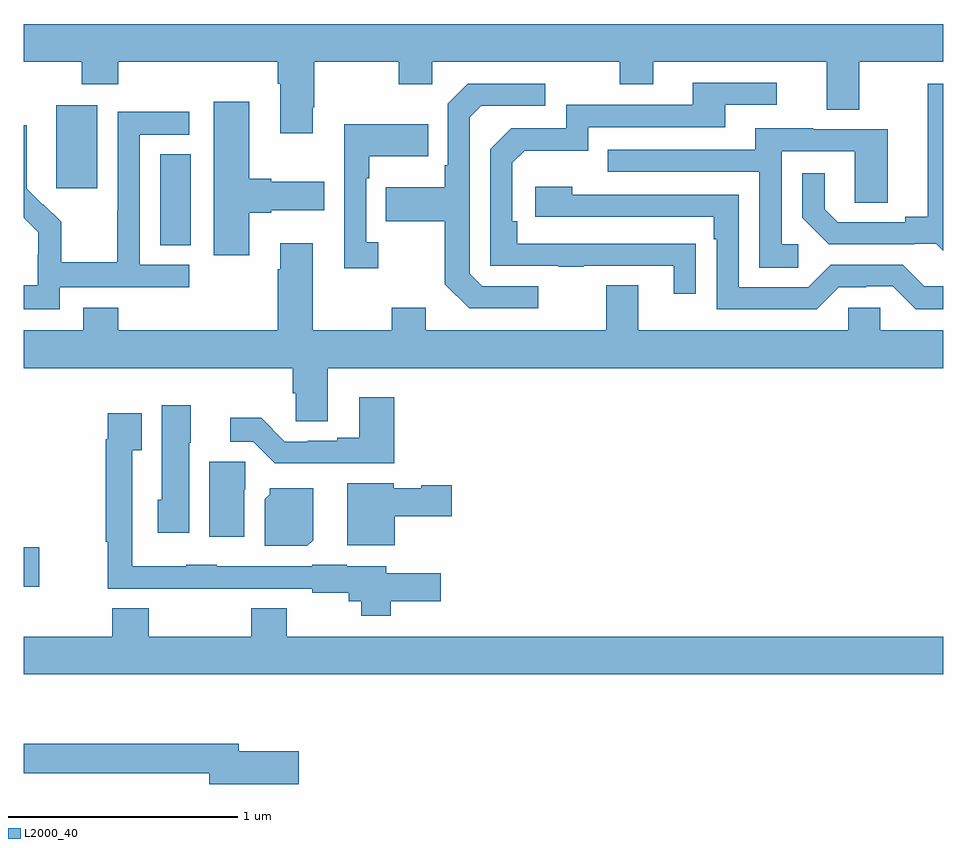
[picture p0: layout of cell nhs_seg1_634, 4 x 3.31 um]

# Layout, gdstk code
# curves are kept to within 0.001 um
import gdstk
lib = gdstk.Library(unit=1e-6, precision=1e-09)
def R(c, l, rs):  # rectangles x0, y0, x1, y1
    for r in rs: c.add(gdstk.rectangle(r[:2], r[2:], *l))
def P(c, l, *ps):  # polygons
    for p in ps: c.add(gdstk.Polygon(p, *l))
L2000_40 = (2000, 40)

nhs_seg1_634 = lib.new_cell('nhs_seg1_634')
R(nhs_seg1_634, L2000_40, [(145,553.445,145.069,553.616), (145.595,554.929,145.726,555.326), (145.142,555.177,145.321,555.538)])
P(nhs_seg1_634, L2000_40, [(146.257,555.529),(146.265,555.529),(146.265,555.728),(146.632,555.728),(146.632,555.629),(146.778,555.629),(146.778,555.728),(147.592,555.728),(147.592,555.629),(147.739,555.629),(147.739,555.728),(148.493,555.728),(148.493,555.52),(148.633,555.52),(148.633,555.728),(149,555.728),(149,555.892),(145,555.892),(145,555.728),(145.252,555.728),(145.252,555.629),(145.412,555.629),(145.412,555.728),(146.105,555.728),(146.105,555.632),(146.117,555.632),(146.117,555.417),(146.257,555.417)],
  [(147.923,554.936),(147.146,554.937),(147.146,555.034),(147.126,555.034),(147.126,555.288),(147.179,555.341),(147.456,555.341),(147.456,555.444),(148.051,555.444),(148.051,555.54),(148.276,555.54),(148.276,555.636),(147.911,555.636),(147.911,555.54),(147.36,555.54),(147.36,555.438),(147.12,555.438),(147.03,555.348),(147.03,554.841),(147.325,554.841),(147.325,554.836),(147.437,554.836),(147.437,554.841),(147.827,554.841),(147.827,554.718),(147.923,554.718)],
  [(149,555.633),(148.931,555.633),(148.931,555.053),(148.835,555.053),(148.835,555.03),(148.54,555.03),(148.483,555.087),(148.483,555.244),(148.386,555.244),(148.386,555.05),(148.502,554.934),(148.874,554.934),(148.874,554.937),(148.968,554.937),(149,554.905)],
  [(147.238,554.751),(146.994,554.751),(146.94,554.805),(146.94,555.486),(146.991,555.537),(147.268,555.537),(147.268,555.633),(146.931,555.633),(146.844,555.546),(146.844,555.277),(146.832,555.277),(146.832,555.181),(146.575,555.181),(146.575,555.034),(146.832,555.034),(146.832,554.761),(146.937,554.655),(147.238,554.655)],
  [(145.981,555.071),(146.077,555.071),(146.077,555.083),(146.308,555.083),(146.308,555.205),(146.077,555.205),(146.077,555.218),(145.981,555.218),(145.981,555.553),(145.826,555.553),(145.826,554.886),(145.981,554.886)],
  [(145.158,554.748),(145.72,554.748),(145.72,554.844),(145.506,554.844),(145.506,555.411),(145.72,555.411),(145.72,555.51),(145.41,555.51),(145.41,555.08),(145.408,555.08),(145.408,554.857),(145.163,554.857),(145.163,555.031),(145.086,555.108),(145.083,555.105),(145.013,555.176),(145.014,555.452),(145,555.452),(145,555.05),(145.064,554.986),(145.064,554.889),(145.062,554.889),(145.062,554.755),(145,554.755),(145,554.651),(145.158,554.651)],
  [(146.542,554.942),(146.49,554.942),(146.49,555.221),(146.503,555.221),(146.503,555.317),(146.759,555.317),(146.759,555.457),(146.394,555.457),(146.394,554.829),(146.542,554.829)],
  [(148.369,554.934),(148.296,554.934),(148.296,555.339),(148.614,555.339),(148.614,555.115),(148.759,555.115),(148.759,555.435),(148.435,555.435),(148.435,555.439),(148.181,555.439),(148.181,555.345),(147.541,555.345),(147.541,555.249),(148.2,555.249),(148.2,554.833),(148.369,554.833)],
  [(149,554.751),(148.917,554.751),(148.824,554.844),(148.509,554.844),(148.413,554.748),(148.11,554.748),(148.11,555.15),(147.386,555.15),(147.386,555.184),(147.225,555.184),(147.225,555.054),(148.001,555.054),(148.001,554.957),(148.014,554.957),(148.014,554.652),(148.449,554.652),(148.545,554.748),(148.664,554.748),(148.664,554.751),(148.779,554.751),(148.879,554.651),(149,554.651)],
  [(146.323,554.396),(149,554.396),(149,554.56),(148.725,554.56),(148.725,554.658),(148.587,554.658),(148.587,554.56),(147.673,554.56),(147.673,554.755),(147.533,554.755),(147.533,554.56),(146.749,554.56),(146.749,554.659),(146.602,554.659),(146.602,554.56),(146.257,554.56),(146.257,554.938),(146.117,554.938),(146.117,554.825),(146.105,554.825),(146.105,554.56),(145.412,554.56),(145.412,554.659),(145.259,554.659),(145.259,554.56),(145,554.56),(145,554.396),(146.171,554.396),(146.171,554.286),(146.184,554.286),(146.184,554.164),(146.323,554.164)],
  [(146.612,554.269),(146.459,554.269),(146.459,554.092),(146.363,554.092),(146.363,554.079),(146.236,554.079),(146.236,554.076),(146.136,554.076),(146.034,554.179),(145.899,554.179),(145.899,554.076),(145.998,554.076),(146.092,553.982),(146.612,553.982)],
  [(145.72,554.07),(145.726,554.07),(145.726,554.233),(145.601,554.233),(145.601,553.824),(145.583,553.824),(145.583,553.68),(145.72,553.68)],
  [(146.597,553.382),(146.815,553.382),(146.815,553.504),(146.578,553.504),(146.578,553.534),(146.406,553.534),(146.406,553.54),(146.256,553.54),(146.256,553.533),(145.839,553.533),(145.839,553.54),(145.707,553.54),(145.707,553.534),(145.473,553.534),(145.473,554.039),(145.513,554.039),(145.513,554.2),(145.365,554.2),(145.365,554.087),(145.357,554.087),(145.357,553.64),(145.365,553.64),(145.365,553.437),(145.607,553.437),(145.607,553.436),(145.839,553.436),(145.839,553.437),(146.256,553.437),(146.256,553.418),(146.414,553.418),(146.414,553.382),(146.469,553.382),(146.469,553.319),(146.597,553.319)],
  [(145.96,553.866),(145.964,553.866),(145.964,553.989),(145.808,553.989),(145.808,553.662),(145.96,553.662)],
  [(146.614,553.751),(146.863,553.751),(146.863,553.886),(146.73,553.886),(146.73,553.873),(146.61,553.873),(146.61,553.894),(146.408,553.894),(146.408,553.625),(146.614,553.625)],
  [(146.26,553.648),(146.26,553.873),(146.07,553.873),(146.07,553.848),(146.048,553.826),(146.048,553.622),(146.234,553.622)],
  [(149,553.228),(146.145,553.228),(146.145,553.352),(145.99,553.352),(145.99,553.228),(145.545,553.228),(145.545,553.352),(145.385,553.352),(145.385,553.228),(145,553.228),(145,553.064),(149,553.064)],
  [(146.197,552.729),(145.936,552.729),(145.936,552.763),(145,552.763),(145,552.634),(145.808,552.634),(145.808,552.587),(146.197,552.587)])

lib.write_gds('nhs_seg1_634.gds')
